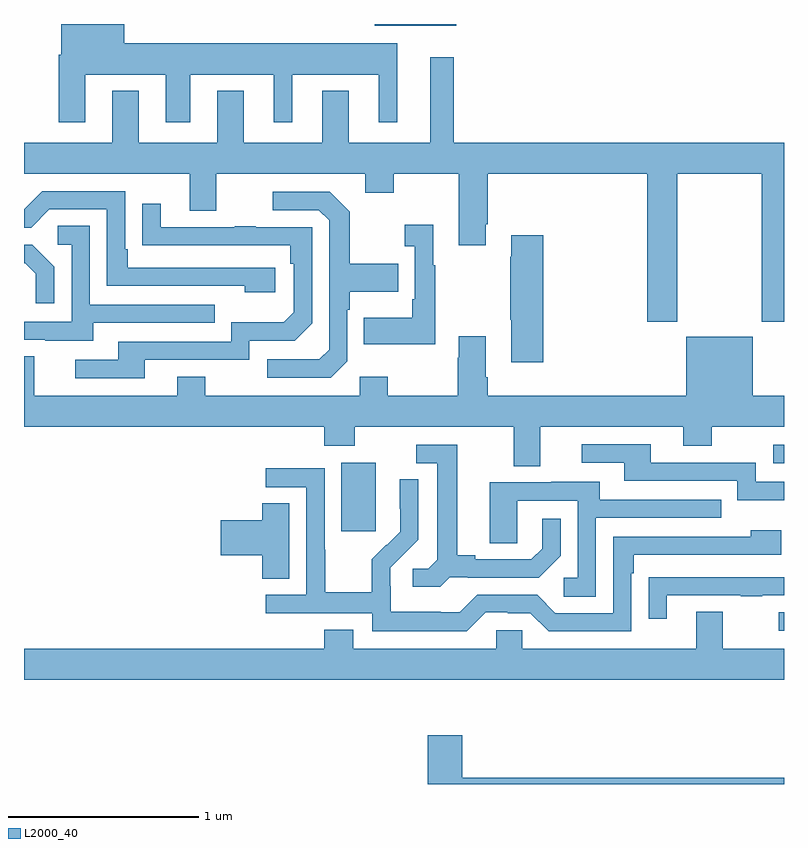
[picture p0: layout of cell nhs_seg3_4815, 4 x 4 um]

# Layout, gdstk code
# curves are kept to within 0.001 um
import gdstk
lib = gdstk.Library(unit=1e-6, precision=1e-09)
def R(c, l, rs):  # rectangles x0, y0, x1, y1
    for r in rs: c.add(gdstk.rectangle(r[:2], r[2:], *l))
def P(c, l, *ps):  # polygons
    for p in ps: c.add(gdstk.Polygon(p, *l))
L2000_40 = (2000, 40)

nhs_seg3_4815 = lib.new_cell('nhs_seg3_4815')
R(nhs_seg3_4815, L2000_40, [(374.973,669.207,375,669.303), (372.671,669.729,372.85,670.09), (374.943,670.089,375,670.185), (372.846,672.392,373.276,672.4)])
P(nhs_seg3_4815, L2000_40, [(371.323,672.134),(371.747,672.134),(371.747,671.883),(371.875,671.883),(371.875,672.134),(372.314,672.134),(372.314,671.883),(372.412,671.883),(372.412,672.134),(372.866,672.134),(372.866,671.883),(372.964,671.883),(372.964,672.298),(371.527,672.298),(371.527,672.4),(371.195,672.4),(371.195,672.238),(371.183,672.238),(371.183,671.883),(371.323,671.883)],
  [(373.261,672.226),(373.139,672.226),(373.139,671.776),(372.709,671.776),(372.709,672.049),(372.569,672.049),(372.569,671.776),(372.157,671.776),(372.157,672.049),(372.017,672.049),(372.017,671.776),(371.605,671.776),(371.605,672.049),(371.465,672.049),(371.465,671.776),(371,671.776),(371,671.612),(371.873,671.612),(371.873,671.418),(372.013,671.418),(372.013,671.612),(372.797,671.612),(372.797,671.513),(372.945,671.513),(372.945,671.612),(373.289,671.612),(373.289,671.235),(373.429,671.235),(373.429,671.347),(373.442,671.347),(373.442,671.612),(374.279,671.612),(374.279,670.833),(374.439,670.833),(374.439,671.612),(374.884,671.612),(374.884,670.833),(375,670.833),(375,671.776),(373.261,671.776)],
  [(372.322,671.118),(371.545,671.118),(371.545,671.215),(371.532,671.215),(371.532,671.52),(371.097,671.52),(371,671.424),(371,671.328),(371.037,671.328),(371.133,671.424),(371.436,671.424),(371.436,671.022),(372.161,671.022),(372.161,670.988),(372.322,670.988)],
  [(372.702,670.626),(372.702,670.895),(372.715,670.895),(372.715,670.991),(372.971,670.991),(372.971,671.139),(372.715,671.139),(372.715,671.411),(372.609,671.517),(372.309,671.517),(372.309,671.421),(372.552,671.421),(372.606,671.367),(372.606,670.686),(372.555,670.635),(372.279,670.635),(372.279,670.539),(372.615,670.539)],
  [(371.635,670.632),(372.186,670.632),(372.186,670.734),(372.426,670.734),(372.516,670.824),(372.516,671.331),(372.221,671.331),(372.221,671.336),(372.109,671.336),(372.109,671.331),(371.719,671.331),(371.719,671.455),(371.623,671.455),(371.623,671.236),(372.4,671.235),(372.4,671.138),(372.42,671.138),(372.42,670.884),(372.367,670.831),(372.09,670.831),(372.09,670.728),(371.495,670.728),(371.495,670.632),(371.271,670.632),(371.271,670.536),(371.635,670.536)],
  [(373.165,671.131),(373.153,671.131),(373.153,671.344),(373.005,671.344),(373.005,671.231),(373.056,671.231),(373.056,670.951),(373.044,670.951),(373.044,670.855),(372.787,670.855),(372.787,670.715),(373.165,670.715)],
  [(371.365,670.827),(372.005,670.827),(372.005,670.923),(371.346,670.923),(371.346,671.339),(371.178,671.339),(371.178,671.238),(371.25,671.238),(371.25,670.833),(371,670.833),(371,670.737),(371.111,670.737),(371.111,670.733),(371.365,670.733)],
  [(373.733,671.287),(373.565,671.287),(373.565,671.174),(373.558,671.174),(373.558,670.843),(373.565,670.843),(373.565,670.62),(373.733,670.62)],
  [(371.16,671.122),(371.044,671.238),(371,671.238),(371,671.142),(371.006,671.142),(371.063,671.085),(371.063,670.929),(371.16,670.929)],
  [(373.717,670.28),(374.471,670.28),(374.471,670.181),(374.619,670.181),(374.619,670.28),(375,670.28),(375,670.444),(374.836,670.444),(374.836,670.753),(374.486,670.753),(374.486,670.444),(373.442,670.444),(373.442,670.54),(373.429,670.54),(373.429,670.756),(373.289,670.756),(373.289,670.643),(373.282,670.643),(373.282,670.444),(372.915,670.444),(372.915,670.543),(372.768,670.543),(372.768,670.444),(371.955,670.444),(371.955,670.543),(371.807,670.543),(371.807,670.444),(371.053,670.444),(371.053,670.652),(371,670.652),(371,670.28),(372.581,670.28),(372.581,670.181),(372.741,670.181),(372.741,670.28),(373.577,670.28),(373.577,670.072),(373.717,670.072)],
  [(375,669.99),(374.85,669.99),(374.85,670.092),(374.299,670.092),(374.299,670.188),(373.935,670.188),(373.935,670.092),(374.159,670.092),(374.159,669.996),(374.754,669.996),(374.754,669.893),(375,669.893)],
  [(373.242,669.489),(373.336,669.489),(373.336,669.486),(373.708,669.486),(373.824,669.602),(373.824,669.796),(373.727,669.796),(373.727,669.639),(373.67,669.582),(373.375,669.582),(373.375,669.605),(373.279,669.605),(373.279,670.185),(373.065,670.185),(373.065,670.089),(373.175,670.089),(373.175,669.581),(373.128,669.534),(373.047,669.534),(373.047,669.437),(373.19,669.437)],
  [(373.431,669.303),(373.547,669.303),(373.547,669.3),(373.665,669.3),(373.761,669.204),(374.196,669.204),(374.196,669.509),(374.209,669.509),(374.209,669.606),(374.986,669.606),(374.986,669.736),(374.825,669.736),(374.825,669.702),(374.1,669.702),(374.1,669.3),(373.797,669.3),(373.701,669.396),(373.386,669.396),(373.293,669.303),(373.193,669.303),(373.193,669.307),(372.93,669.307),(372.93,669.441),(372.928,669.441),(372.928,669.538),(373.074,669.686),(373.074,670.004),(372.978,670.004),(372.978,669.85),(372.98,669.85),(372.98,669.728),(372.909,669.657),(372.906,669.66),(372.829,669.583),(372.829,669.409),(372.585,669.409),(372.585,669.632),(372.582,669.632),(372.582,670.062),(372.273,670.062),(372.273,669.963),(372.486,669.963),(372.486,669.396),(372.273,669.396),(372.273,669.3),(372.834,669.3),(372.834,669.203),(373.331,669.203)],
  [(374.01,669.801),(374.669,669.801),(374.669,669.897),(374.029,669.897),(374.029,669.991),(373.775,669.991),(373.775,669.987),(373.451,669.987),(373.451,669.667),(373.596,669.667),(373.596,669.891),(373.914,669.891),(373.914,669.486),(373.842,669.486),(373.842,669.385),(374.01,669.385)],
  [(372.397,669.878),(372.254,669.878),(372.254,669.788),(372.036,669.788),(372.036,669.605),(372.254,669.605),(372.254,669.481),(372.397,669.481)],
  [(374.383,669.393),(374.773,669.393),(374.773,669.388),(374.885,669.388),(374.885,669.393),(375,669.393),(375,669.489),(374.389,669.489),(374.389,669.488),(374.287,669.488),(374.287,669.27),(374.383,669.27)],
  [(375,669.112),(374.677,669.112),(374.677,669.307),(374.537,669.307),(374.537,669.112),(373.623,669.112),(373.623,669.21),(373.485,669.21),(373.485,669.112),(372.733,669.112),(372.733,669.211),(372.581,669.211),(372.581,669.112),(371,669.112),(371,668.948),(375,668.948)],
  [(375,668.432),(373.307,668.432),(373.307,668.656),(373.124,668.656),(373.124,668.4),(375,668.4)])

lib.write_gds('nhs_seg3_4815.gds')
